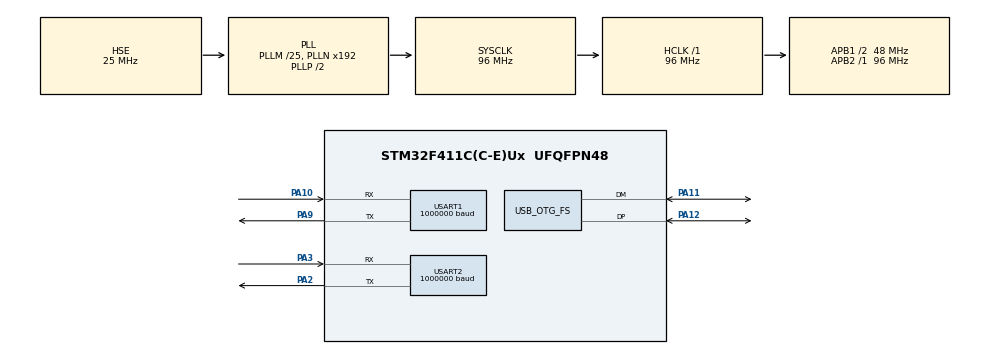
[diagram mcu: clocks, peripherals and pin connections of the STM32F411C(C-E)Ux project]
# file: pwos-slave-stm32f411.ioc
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Mcu.Family=STM32F4
Mcu.Name=STM32F411C(C-E)Ux
Mcu.Package=UFQFPN48
NVIC.PriorityGroup=NVIC_PRIORITYGROUP_4
PA10.Mode=Asynchronous
PA10.Signal=USART1_RX
PA11.Mode=Device_Only
PA11.Signal=USB_OTG_FS_DM
PA12.Mode=Device_Only
PA12.Signal=USB_OTG_FS_DP
PA2.Mode=Asynchronous
PA2.Signal=USART2_TX
PA3.Mode=Asynchronous
PA3.Signal=USART2_RX
PA9.Mode=Asynchronous
PA9.Signal=USART1_TX
PH0\ -\ OSC_IN.Mode=HSE-External-Oscillator
PH0\ -\ OSC_IN.Signal=RCC_OSC_IN
PH1\ -\ OSC_OUT.Mode=HSE-External-Oscillator
PH1\ -\ OSC_OUT.Signal=RCC_OSC_OUT
ProjectManager.HeapSize=0x200
ProjectManager.StackSize=0x400
ProjectManager.TargetToolchain=CMake
RCC.48MHZClocksFreq_Value=48000000
RCC.AHBFreq_Value=96000000
RCC.APB1CLKDivider=RCC_HCLK_DIV2
RCC.APB1Freq_Value=48000000
RCC.APB1TimFreq_Value=96000000
RCC.APB2Freq_Value=96000000
RCC.APB2TimFreq_Value=96000000
RCC.CortexFreq_Value=96000000
RCC.HCLKFreq_Value=96000000
RCC.HSE_VALUE=25000000
RCC.HSI_VALUE=16000000
RCC.LSE_VALUE=32768
RCC.PLLM=25
RCC.SYSCLKFreq_VALUE=96000000
RCC.SYSCLKSource=RCC_SYSCLKSOURCE_PLLCLK
RCC.VCOOutputFreq_Value=192000000
USART1.BaudRate=1000000
USART1.VirtualMode=VM_ASYNC
USART2.BaudRate=1000000
USART2.VirtualMode=VM_ASYNC
USB_OTG_FS.VirtualMode=Device_Only
board=custom

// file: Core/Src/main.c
/* USER CODE BEGIN Header */
/**
  ******************************************************************************
  * @file           : main.c
  * @brief          : Main program body
  ******************************************************************************
  * @attention
  *
  * Copyright (c) 2026 STMicroelectronics.
  * All rights reserved.
  *
  * This software is licensed under terms that can be found in the LICENSE file
  * in the root directory of this software component.
  * If no LICENSE file comes with this software, it is provided AS-IS.
  *
  ******************************************************************************
  */
/* USER CODE END Header */
#include "main.h"

/* USER CODE BEGIN Includes */
#include "mesh_node_mini9p_init.h"
#include "mesh_node_service.h"

/* USER CODE END Includes */

/* USER CODE BEGIN PD */
#ifndef PWOS_UART1_TX_SMOKE_TEST
#define PWOS_UART1_TX_SMOKE_TEST 0
#endif

/* USER CODE END PD */

UART_HandleTypeDef huart1;
UART_HandleTypeDef huart2;

PCD_HandleTypeDef hpcd_USB_OTG_FS;

void SystemClock_Config(void);
static void MX_GPIO_Init(void);
static void MX_USART1_UART_Init(void);
static void MX_USB_OTG_FS_PCD_Init(void);
static void MX_USART2_UART_Init(void);

int main(void)
{

  /* MCU Configuration--------------------------------------------------------*/

  /* Reset of all peripherals, Initializes the Flash interface and the Systick. */
  HAL_Init();

  /* Configure the system clock */
  SystemClock_Config();

  /* Initialize all configured peripherals */
  MX_GPIO_Init();
  MX_USART1_UART_Init();
  MX_USB_OTG_FS_PCD_Init();
  MX_USART2_UART_Init();
  /* USER CODE BEGIN 2 */
#if !PWOS_UART1_TX_SMOKE_TEST
  if (mesh_node_mini9p_init() != 0)
  {
    Error_Handler();
  }
#endif

  /* USER CODE END 2 */

  /* Infinite loop */
  while (1)
  {

    /* USER CODE BEGIN 3 */
#if PWOS_UART1_TX_SMOKE_TEST
    const uint8_t msg[] = "stm32 uart1 alive\r\n";
    (void)HAL_UART_Transmit(&huart1, msg, sizeof(msg) - 1u, HAL_MAX_DELAY);
    HAL_Delay(1000);
#else
    (void)mesh_node_service_poll_once();
#endif
  }
  /* USER CODE END 3 */
}

void SystemClock_Config(void)
{
  RCC_OscInitTypeDef RCC_OscInitStruct = {0};
  RCC_ClkInitTypeDef RCC_ClkInitStruct = {0};

  /** Configure the main internal regulator output voltage
  */
  __HAL_RCC_PWR_CLK_ENABLE();
  __HAL_PWR_VOLTAGESCALING_CONFIG(PWR_REGULATOR_VOLTAGE_SCALE1);

  /** Initializes the RCC Oscillators according to the specified parameters
  * in the RCC_OscInitTypeDef structure.
  */
  RCC_OscInitStruct.OscillatorType = RCC_OSCILLATORTYPE_HSE;
  RCC_OscInitStruct.HSEState = RCC_HSE_ON;
  RCC_OscInitStruct.PLL.PLLState = RCC_PLL_ON;
  RCC_OscInitStruct.PLL.PLLSource = RCC_PLLSOURCE_HSE;
  RCC_OscInitStruct.PLL.PLLM = 25;
  RCC_OscInitStruct.PLL.PLLN = 192;
  RCC_OscInitStruct.PLL.PLLP = RCC_PLLP_DIV2;
  RCC_OscInitStruct.PLL.PLLQ = 4;
  if (HAL_RCC_OscConfig(&RCC_OscInitStruct) != HAL_OK)
  {
    Error_Handler();
  }

  /** Initializes the CPU, AHB and APB buses clocks
  */
  RCC_ClkInitStruct.ClockType = RCC_CLOCKTYPE_HCLK|RCC_CLOCKTYPE_SYSCLK
                              |RCC_CLOCKTYPE_PCLK1|RCC_CLOCKTYPE_PCLK2;
  RCC_ClkInitStruct.SYSCLKSource = RCC_SYSCLKSOURCE_PLLCLK;
  RCC_ClkInitStruct.AHBCLKDivider = RCC_SYSCLK_DIV1;
  RCC_ClkInitStruct.APB1CLKDivider = RCC_HCLK_DIV2;
  RCC_ClkInitStruct.APB2CLKDivider = RCC_HCLK_DIV1;

  if (HAL_RCC_ClockConfig(&RCC_ClkInitStruct, FLASH_LATENCY_3) != HAL_OK)
  {
    Error_Handler();
  }
}

static void MX_USART1_UART_Init(void)
{

  huart1.Instance = USART1;
  huart1.Init.BaudRate = 1000000;
  huart1.Init.WordLength = UART_WORDLENGTH_8B;
  huart1.Init.StopBits = UART_STOPBITS_1;
  huart1.Init.Parity = UART_PARITY_NONE;
  huart1.Init.Mode = UART_MODE_TX_RX;
  huart1.Init.HwFlowCtl = UART_HWCONTROL_NONE;
  huart1.Init.OverSampling = UART_OVERSAMPLING_16;
  if (HAL_UART_Init(&huart1) != HAL_OK)
  {
    Error_Handler();
  }

}

static void MX_USART2_UART_Init(void)
{

  huart2.Instance = USART2;
  huart2.Init.BaudRate = 1000000;
  huart2.Init.WordLength = UART_WORDLENGTH_8B;
  huart2.Init.StopBits = UART_STOPBITS_1;
  huart2.Init.Parity = UART_PARITY_NONE;
  huart2.Init.Mode = UART_MODE_TX_RX;
  huart2.Init.HwFlowCtl = UART_HWCONTROL_NONE;
  huart2.Init.OverSampling = UART_OVERSAMPLING_16;
  if (HAL_UART_Init(&huart2) != HAL_OK)
  {
    Error_Handler();
  }

}

static void MX_USB_OTG_FS_PCD_Init(void)
{

  hpcd_USB_OTG_FS.Instance = USB_OTG_FS;
  hpcd_USB_OTG_FS.Init.dev_endpoints = 4;
  hpcd_USB_OTG_FS.Init.speed = PCD_SPEED_FULL;
  hpcd_USB_OTG_FS.Init.dma_enable = DISABLE;
  hpcd_USB_OTG_FS.Init.phy_itface = PCD_PHY_EMBEDDED;
  hpcd_USB_OTG_FS.Init.Sof_enable = DISABLE;
  hpcd_USB_OTG_FS.Init.low_power_enable = DISABLE;
  hpcd_USB_OTG_FS.Init.lpm_enable = DISABLE;
  hpcd_USB_OTG_FS.Init.vbus_sensing_enable = DISABLE;
  hpcd_USB_OTG_FS.Init.use_dedicated_ep1 = DISABLE;
  if (HAL_PCD_Init(&hpcd_USB_OTG_FS) != HAL_OK)
  {
    Error_Handler();
  }

}

static void MX_GPIO_Init(void)
{

  /* GPIO Ports Clock Enable */
  __HAL_RCC_GPIOH_CLK_ENABLE();
  __HAL_RCC_GPIOA_CLK_ENABLE();

}

void Error_Handler(void)
{
  __disable_irq();
  while (1)
  {
  }
}
